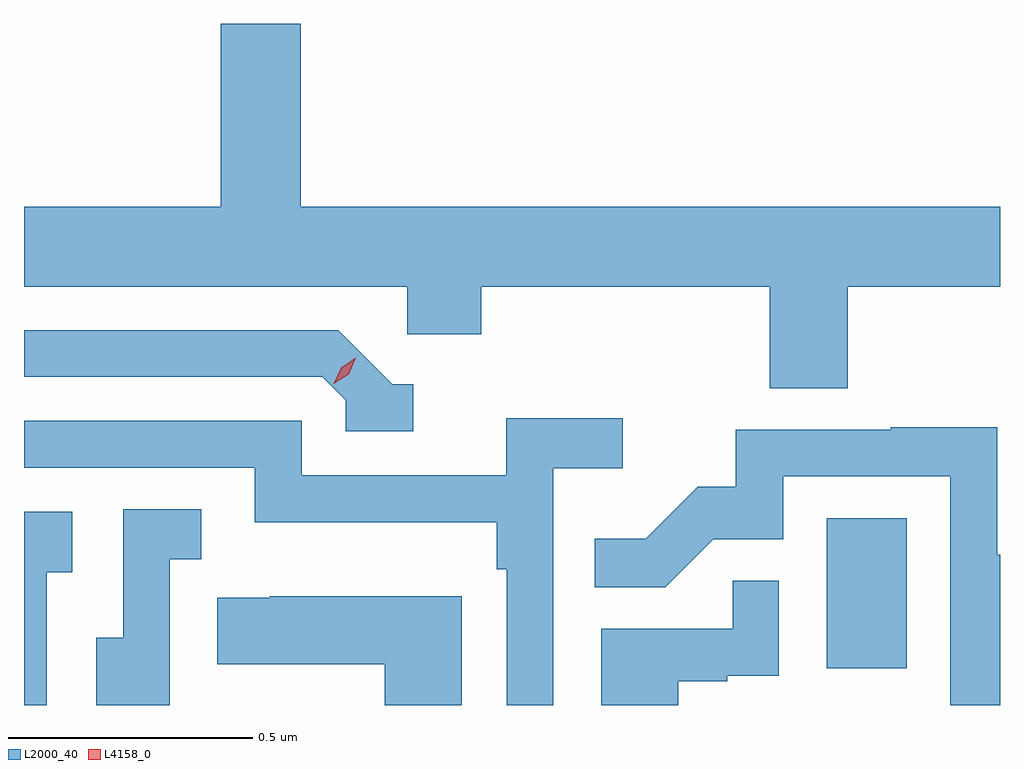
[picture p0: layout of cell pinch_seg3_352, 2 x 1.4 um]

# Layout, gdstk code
import gdstk
lib = gdstk.Library(unit=1e-6, precision=1e-09)
def R(c, l, rs):  # rectangles x0, y0, x1, y1
    for r in rs: c.add(gdstk.rectangle(r[:2], r[2:], *l))
def P(c, l, *ps):  # polygons
    for p in ps: c.add(gdstk.Polygon(p, *l))
L2000_40 = (2000, 40)
L4158_0 = (4158, 0)

pinch_seg3_352 = lib.new_cell('pinch_seg3_352')
R(pinch_seg3_352, L2000_40, [(981.434,692.142,981.598,692.449)])
P(pinch_seg3_352, L2000_40, [(981.477,692.924),(981.789,692.924),(981.789,693.088),(980.356,693.088),(980.356,693.463),(980.192,693.463),(980.192,693.088),(979.789,693.088),(979.789,692.924),(980.574,692.924),(980.574,692.826),(980.726,692.826),(980.726,692.924),(981.317,692.924),(981.317,692.716),(981.477,692.716)],
  [(980.587,692.724),(980.544,692.724),(980.433,692.835),(979.789,692.835),(979.789,692.739),(980.4,692.739),(980.448,692.691),(980.448,692.628),(980.587,692.628)],
  [(980.874,692.552),(981.016,692.552),(981.016,692.654),(980.777,692.654),(980.777,692.538),(980.358,692.538),(980.358,692.649),(979.789,692.649),(979.789,692.553),(980.262,692.553),(980.262,692.441),(980.758,692.441),(980.758,692.345),(980.778,692.345),(980.778,692.066),(980.874,692.066)],
  [(981.789,692.375),(981.783,692.375),(981.783,692.636),(981.565,692.636),(981.565,692.631),(981.247,692.631),(981.247,692.514),(981.17,692.514),(981.063,692.407),(980.959,692.407),(980.959,692.308),(981.103,692.308),(981.201,692.406),(981.345,692.406),(981.345,692.535),(981.687,692.535),(981.687,692.066),(981.789,692.066)],
  [(980.088,692.365),(980.152,692.365),(980.152,692.468),(979.992,692.468),(979.992,692.205),(979.937,692.205),(979.937,692.066),(980.088,692.066)],
  [(979.836,692.339),(979.888,692.339),(979.888,692.463),(979.789,692.463),(979.789,692.066),(979.836,692.066)],
  [(981.13,692.115),(981.23,692.115),(981.23,692.127),(981.336,692.127),(981.336,692.321),(981.241,692.321),(981.241,692.223),(980.972,692.223),(980.972,692.066),(981.13,692.066)],
  [(980.686,692.29),(980.293,692.29),(980.293,692.287),(980.185,692.287),(980.185,692.15),(980.528,692.15),(980.528,692.066),(980.686,692.066)])
P(pinch_seg3_352, L4158_0, [(980.424,692.725),(980.424,692.725),(980.439,692.758),(980.469,692.778),(980.469,692.778),(980.469,692.778),(980.454,692.745),(980.424,692.725)])

lib.write_gds('pinch_seg3_352.gds')
